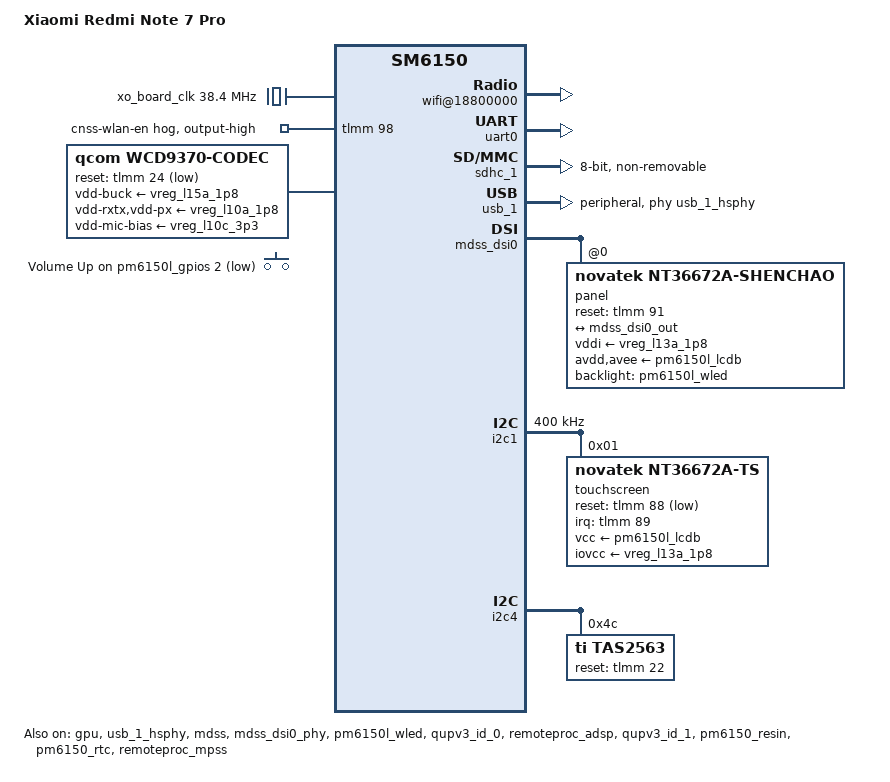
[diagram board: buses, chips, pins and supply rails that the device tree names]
// SPDX-License-Identifier: BSD-3-Clause
/*
 * Xiaomi Redmi Note 7 Pro (violet)
 *
 * SM6150 / Snapdragon 675 — internal MSM codename "Talos", which is the name
 * mainline uses for this SoC (shared with QCS615).  So the SoC description is
 * arch/arm64/boot/dts/qcom/talos.dtsi and this file only has to describe the
 * *board*.
 *
 * Status (mainline 7.2.10, booted via kexec from the downstream kernel):
 *   [x] reserved memory (ramoops console, GPU PIL region)
 *   [x] console on uart0, eMMC, USB peripheral (high-speed only, QUSB2 PHY)
 *   [x] GPU: Adreno 612 renders (RGMU, zap shader), needs
 *       msm.separate_gpu_kms=1 (keeps the GPU a separate DRM device)
 *   [~] PMIC rails: values from the vendor tables, only consumers modelled
 *   [x] display chain: DSI PHY + NT36672A "shenchao" panel + WLED, DSI-1
 *       connected 1080x2340, picture confirmed working (panel repaired 2026-10-25);
 *       WLED must carry qcom,num-strings = <2> or the backlight OVP IRQ storms
 *       at ~1150/s for as long as the panel is lit
 *   [x] touchscreen: novatek @ i2c 0x01 (0x62 is the HW command window)
 *   [x] GPU: Adreno 612 via freedreno (FD612), devfreq 435-845 MHz
 *   [x] eMMC: 8-bit, non-removable, no CQE, HS200
 *   [ ] audio (WCD9375 + AudioReach), camera, sensors, modem
 *   [~] wifi (WCN3990 via ath10k_snoc): nodes added, needs the module +
 *       ath10k firmware; see the notes at the end of this file
 *   [!] known bug: a real graphical session (login) hard-locks the SoC after
 *       ~30-40 s.  Storage, GPU runtime-PM, CPUs 5-7 and the WLED storm have
 *       all been eliminated; the display frame-done IRQ stops being delivered.
 *
 * TZ/xPU quirks that shaped this file: the first four TLMM pins and the QoS
 * registers of aggre1_noc hang the CPU when touched (see the notes at the
 * bottom), and Linux must not enable the TZ SHM bridge on this SoC.
 */

/dts-v1/;

#include <dt-bindings/gpio/gpio.h>
#include <dt-bindings/input/input.h>
#include <dt-bindings/interrupt-controller/irq.h>
#include <dt-bindings/iio/qcom,spmi-vadc.h>
#include <dt-bindings/regulator/qcom,rpmh-regulator.h>
#include <dt-bindings/firmware/qcom,scm.h>
#include <dt-bindings/soc/qcom,apr.h>
#include <dt-bindings/sound/qcom,q6afe.h>
#include <dt-bindings/sound/qcom,q6asm.h>

#include "talos.dtsi"
#include "pm6150.dtsi"
#include "pm6150l.dtsi"

/ {
	model = "Xiaomi Redmi Note 7 Pro";
	compatible = "xiaomi,violet", "qcom,sm6150";
	chassis-type = "handset";

	/*
	 * The bootloader supplies and fills RAM.  Two measured facts:
	 *  - the vendor DTB that boots has a node named exactly "memory" (NO unit
	 *    address) with a zero/placeholder size, and ABL fills it in.
	 *  - mainline's talos.dtsi names it "memory@80000000" and comments
	 *    "We expect the bootloader to fill in the size" -- the u-boot convention.
	 * ABL looks the node up by NAME, so "memory@80000000" is not found and
	 * neither is no node at all: both make it refuse the image.  Measured:
	 *  - zero-size memory@80000000  -> refused
	 *  - no memory node at all      -> refused
	 * So use the vendor's exact name and let ABL fill it.
	 */
	/delete-node/ memory@80000000;

	memory {
		device_type = "memory";
		reg = <0 0x80000000 0 0>;
	};

	aliases {
		serial0 = &uart0;
		mmc0 = &sdhc_1;
	};

	chosen {
		stdout-path = "serial0:115200n8";
	};

	/*
	 * talos.dtsi references both of these; the board has to provide them.
	 * The standard SM6150 pair, exactly as the QCS615 EVK declares them.
	 */
	clocks {
		sleep_clk: sleep-clk {
			compatible = "fixed-clock";
			clock-frequency = <32000>;
			#clock-cells = <0>;
		};

		xo_board_clk: xo-board-clk {
			compatible = "fixed-clock";
			clock-frequency = <38400000>;
			#clock-cells = <0>;
		};
	};
};

/*
 * violet's OWN reserved-memory map.  The QCS615 EVK puts pil_gpu_mem at
 * 0x97715000; violet's is at 0x97115000, so the SoC node has to be overridden
 * (a wrong address here hands the zap/GPU region over to the allocator).
 * The remaining remoteproc regions follow in later iterations.
 */
&{/reserved-memory} {
	/delete-node/ pil-gpu@97715000;

	ramoops: ramoops@a1600000 {
		compatible = "ramoops";
		reg = <0x0 0xa1600000 0x0 0x800000>;
		/*
		 * record-size is what makes a panic produce dmesg-ramoops-N.
		 * Without it only console-ramoops-0 exists, so a hard reset or
		 * a panic leaves no kernel log behind (STATUS.md, "Crash
		 * evidence").  2 MB console + 1 MB pmsg + 1 MB record of the
		 * 8 MB region leaves headroom.
		 */
		record-size = <0x100000>;
		console-size = <0x200000>;
		pmsg-size = <0x100000>;
	};

	pil_gpu_mem: pil-gpu@97115000 {
		reg = <0x0 0x97115000 0x0 0x2000>;
		no-map;
	};
};

/*
 * ---------------------------------------------------------------------------
 * Nodes this device's bootloader patches BY NAME.
 *
 * Qualcomm ABL edits the boot image's DTB on every boot: it fills the memory
 * map, records "removed" memory, writes the Android firmware metadata and the
 * imem fields.  Violet's vendor DTB -- the one ABL actually boots -- carries all
 * of these; mainline's soc DTS does not.  Measured: with the arm64 header fully
 * matched, __symbols__ present and a dtbo that applies cleanly, ABL still
 * refuses our DTB, which is why the missing vendor nodes are the prime suspect.
 *
 * Names, compatible strings and addresses are copied verbatim from violet's own
 * vendor DTB (read back off the device).  Regions that mainline's talos.dtsi
 * already declares under a different name are left alone: an extra reservation
 * costs a little RAM and is harmless, while a missing node ABL expects is fatal.
 * ---------------------------------------------------------------------------
 */
&{/reserved-memory} {
	hyp_region@85700000 {
		compatible = "removed-dma-pool";
		no-map;
		reg = <0x0 0x85700000 0x0 0x600000>;
	};

	xbl_aop_mem@85e00000 {
		compatible = "removed-dma-pool";
		no-map;
		reg = <0x0 0x85e00000 0x0 0x140000>;
	};

	sec_apps_region@85fff000 {
		compatible = "removed-dma-pool";
		no-map;
		reg = <0x0 0x85fff000 0x0 0x1000>;
	};

	/* ABL keeps its "removed memory" record here; 45 MB, the largest gap */
	removed_region@86200000 {
		compatible = "removed-dma-pool";
		no-map;
		reg = <0x0 0x86200000 0x0 0x2d00000>;
	};

	camera_region@8ab00000 {
		compatible = "removed-dma-pool";
		no-map;
		reg = <0x0 0x8ab00000 0x0 0x500000>;
	};

	modem_mem: modem@8b000000 {
		compatible = "removed-dma-pool";
		no-map;
		reg = <0x0 0x8b000000 0x0 0x7e00000>;
	};

	/*
	 * IPA firmware / GSI carve-outs (vendor ipa_fw_region@97100000 and
	 * ipa_gsi_region@97110000).  With "modem-init" the modem loads the GSI
	 * firmware itself and writes here; if the kernel owns this memory the
	 * modem corrupts it and the SoC resets ~16 s after "modem is now up".
	 */
	ipa_fw_mem: ipa-fw@97100000 {
		reg = <0x0 0x97100000 0x0 0x10000>;
		no-map;
	};

	ipa_gsi_mem: ipa-gsi@97110000 {
		reg = <0x0 0x97110000 0x0 0x5000>;
		no-map;
	};

	/*
	 * rmtfs shared memory.  The modem asks the AP for files (its own
	 * firmware tiles, calibration, the WLAN board data) through this
	 * region via the rmtfs daemon.  The vendor allocates it DYNAMICALLY
	 * (qcom,sharedmem-uio reg = <0 size> means "allocate"), so there is no
	 * vendor address; the earlier "rmtfs@0" at physical address 0 was
	 * not DRAM at all.  This one is real RAM just above ramoops, with the
	 * usual guard pages (Fairphone 4 pattern) and the MSS_MSA VMID.
	 */
	rmtfs_mem: rmtfs@a1e00000 {
		compatible = "qcom,rmtfs-mem";
		reg = <0x0 0xa1e00000 0x0 0x280000>;
		no-map;
		qcom,client-id = <1>;
		qcom,vmid = <QCOM_SCM_VMID_MSS_MSA>;
	};

	wlan_msa_mem: wlan_msa_mem@93300000 {
		compatible = "removed-dma-pool";
		no-map;
		/*
		 * 2 MB, exactly the vendor's own carve-out
		 * (dt/ref/violet-sm6150-memory.dtsi: 0x93300000 + 0x200000).
		 *
		 * This used to be 1 MB with a note saying pil-video@93400000
		 * would overlap it - but that is talos' map, not violet's.
		 * Violet puts video at 0x92e00000 and the next region after
		 * the MSA starts at 0x93500000 (cdsp), so the full 2 MB is
		 * free.  A truncated MSA is a wrong memory map handed to the
		 * WLAN firmware.
		 */
		reg = <0x0 0x93300000 0x0 0x200000>;
	};

	/*
	 * The ADSP/CDSP/IPA carve-outs that used to be declared here duplicated
	 * (at different addresses) the ones talos.dtsi already defines -
	 * rproc-cdsp@93b00000, rproc-adsp@95900000 - and the overlaps made the
	 * kernel drop the regions.  rproc_adsp_mem@95900000 is the one
	 * remoteproc_adsp references, so keep upstream's and drop these.
	 */

	qseecom_region@9e400000 {
		compatible = "shared-dma-pool";
		no-map;
		reg = <0x0 0x9e400000 0x0 0x1400000>;
	};

	cdsp_sec_mem@9f800000 {
		compatible = "removed-dma-pool";
		no-map;
		reg = <0x0 0x9f800000 0x0 0x1e00000>;
	};

	cont_splash_region@9c000000 {
		reg = <0x0 0x9c000000 0x0 0xf00000>;
	};

	dfps_data_region@9d000000 {
		reg = <0x0 0x9d000000 0x0 0x100000>;
	};

	disp_rdump_region@9d100000 {
		reg = <0x0 0x9d100000 0x0 0x1000000>;
	};
};

/*
 * imem: mainline declares sram@14680000; violet's is qcom,msm-imem@146aa000 and
 * the vendor DTB exposes the sub-blocks ABL and the Android bootloader use
 * (restart reason, boot stats, KASLR offset, the PIL/dload scratch areas).
 */
&soc {
	qcom_msm_imem: imem@146aa000 {
		compatible = "qcom,msm-imem";
		/* mainline's /soc is 2 address + 2 size cells */
		reg = <0x0 0x146aa000 0x0 0x1000>;
		ranges = <0x0 0x0 0x146aa000 0x1000>;
		#address-cells = <1>;
		#size-cells = <1>;

		imem_mem_dump_table: mem_dump_table@10 {
			compatible = "qcom,msm-imem-mem_dump_table";
			reg = <0x10 0x8>;
		};

		imem_restart_reason: restart_reason@65c {
			compatible = "qcom,msm-imem-restart_reason";
			reg = <0x65c 0x4>;
		};

		imem_dload_type: dload_type@1c {
			compatible = "qcom,msm-imem-dload-type";
			reg = <0x1c 0x4>;
		};

		imem_boot_stats: boot_stats@6b0 {
			compatible = "qcom,msm-imem-boot_stats";
			reg = <0x6b0 0x20>;
		};

		imem_kaslr_offset: kaslr_offset@6d0 {
			compatible = "qcom,msm-imem-kaslr_offset";
			reg = <0x6d0 0xc>;
		};

		imem_pil: pil@94c {
			compatible = "qcom,msm-imem-pil";
			reg = <0x94c 0xc8>;
		};

		imem_diag_dload: diag_dload@c8 {
			compatible = "qcom,msm-imem-diag-dload";
			reg = <0xc8 0xc8>;
		};
	};
};

/*
 * ABL writes the Android firmware metadata into /firmware/android on every boot
 * (the "boot_devices", vbmeta parts and fstab).  Violet's vendor DTB has it;
 * mainline's does not.
 */
&{/firmware} {
	android {
		compatible = "android,firmware";

		boot_devices = "soc/7c4000.sdhci";

		vbmeta {
			compatible = "android,vbmeta";
			parts = "vbmeta,boot,recovery,system,vendor,dtbo";
		};

		fstab {
			compatible = "android,fstab";

			vendor {
				compatible = "android,vendor";
				dev = "/dev/block/platform/soc/1d84000.ufshc/by-name/vendor";
				type = "ext4";
				mnt_flags = "ro,barrier=1,discard";
				fsmgr_flags = "wait,slotselect,avb";
				status = "disabled";
			};
		};
	};
};

/* the debug UART: serial@880000, matching violet's downstream earlycon */
&uart0 {
	status = "okay";
};

/*
 * eMMC.  violet's vendor DT declares no vmmc/vddio for sdhc_1 at all -- the
 * rails are left enabled by the bootloader -- and mainline treats those supplies
 * as optional, so the node does not need them.
 *
 * It does need the two properties the EVK-oriented talos.dtsi leaves to the
 * board, and their absence was not harmless: without bus-width the controller
 * runs 1-bit, and without non-removable mmc treats the eMMC as a removable
 * card, so a command timeout takes the rescan/re-init path instead of retrying.
 * Under write load (a login) that produced
 *   mmc0: Timeout waiting for hardware cmd interrupt
 * followed by an RCU stall, a CPU pinned with IRQs off, and a system-wide hang.
 * The vendor DT has qcom,bus-width = <8> and qcom,nonremovable.
 */
&sdhc_1 {
	status = "okay";
	bus-width = <8>;
	non-removable;

	/*
	 * With 8-bit enabled the controller also advertised and initialised the
	 * Command Queue Engine, and the freeze got *worse*: it arrived ~21 s
	 * after login instead of ~60 s, with no console output at all (the
	 * pstore dump ends at 33 s, so printk had already stopped).  CQE was
	 * never active in the broken 1-bit configuration, so it is the new
	 * variable - drop it for now.
	 */
	/delete-property/ supports-cqe;

	/*
	 * And let the bus run at its proper HS200 clock.  Do NOT cap this with
	 * max-frequency: the mmc core still selects HS200 mode (host capability,
	 * not DT-controlled), so capping the clock to 52 MHz leaves the
	 * controller running HS200 *timing* at a quarter of the frequency it
	 * requires - an out-of-spec combination that produces data errors and
	 * command timeouts.  Observed: deaths right after adding the cap came at
	 * 107 s / 77 s / 155 s, versus 321 s without it.
	 */
};

/*
 * The Adreno 612.  Everything it needs is already in talos.dtsi (gpucc core
 * clock, RPMHPD_CX, adreno_smmu, the mobile OPP table 845..290 MHz), so the
 * board only has to turn it on.  Firmware to have in /lib/firmware:
 *   a612_rgmu.bin, a630_sqe.fw  (mainline names, both installed already)
 *   the signed zap -- the single-file .mbn form mainline requests is the
 *   ROM's a612_zap.elf (already extracted from violet's own vendor image)
 */
/*
 * QCS615/SM6150 GCC GDSCs are backed by the RPMh CX rail.  Without this link a
 * consumer of a GCC-provided GDSC can enable its local domain without the CX
 * vote ever being held, which is why GPUCC's parents (GPLL0 and
 * GCC_GPU_GPLL0_DIV_CLK_SRC) come up dead and gpu_cc_gx_gfx3d_clk_src reports
 * "RCG did not turn on" at 0.234s.  Upstream added this property in commit
 * 5ad7eb6a944e, which is newer than our 7.2.10 base.
 */
&gcc {
	power-domains = <&rpmhpd RPMHPD_CX>;
};

&gpu {
	status = "okay";
};

/*
 * mainline requires the zap firmware name to come from the DT for new targets
 * ("the firmware is signed with a (potentially) device specific key, having the
 * name come from gpulist was a bad idea").  request_firmware_direct() uses this
 * string verbatim -- no qcom/ fallback probing.
 *
 * Install the DEVICE-SIGNED single-file zap at /lib/firmware/qcom/a612_zap.mbn:
 * that is the ROM's a612_zap.elf (14240 B).  Do NOT use the upstream
 * linux-firmware qcs615 blob (14256 B) -- it is signed for a sibling part and
 * TrustZone rejects it, which is measured behaviour on this device.
 */
&gpu_zap_shader {
	firmware-name = "qcom/a612_zap.mdt";
};

/*
 * RPMh regulators live under the applications RSC, not the SPMI bus.
 * `qcom,pmic-id` is the PMIC's SPMI USID as a letter: pm6150 -> "a", pm6150l -> "e".
 * Child node names must be the vreg resource names from
 * qcom-rpmh-regulator.c (RPMH_VREG("ldo1", ...) etc.).
 * Values below are violet's, from the vendor sm6150-regulator.dtsi.
 */
&apps_rsc {
	regulators-0 {
		compatible = "qcom,pm6150-rpmh-regulators";
		qcom,pmic-id = "a";

		vreg_l1a_1p2: ldo1 {
			regulator-min-microvolt = <1200000>;
			regulator-max-microvolt = <1252000>;
			regulator-initial-mode = <RPMH_REGULATOR_MODE_HPM>;
		};

		vreg_l2a_1p0: ldo2 {
			regulator-min-microvolt = <1000000>;
			regulator-max-microvolt = <1050000>;
			regulator-initial-mode = <RPMH_REGULATOR_MODE_HPM>;
		};

		vreg_l3a_1p0: ldo3 {
			regulator-min-microvolt = <1000000>;
			regulator-max-microvolt = <1060000>;
			regulator-initial-mode = <RPMH_REGULATOR_MODE_HPM>;
		};

		vreg_l4a_0p8: ldo4 {
			regulator-min-microvolt = <925000>;	/* DSI PHY: r10 runs it at 925 mV */
			regulator-max-microvolt = <975000>;
			regulator-initial-mode = <RPMH_REGULATOR_MODE_HPM>;
		};

		vreg_l5a_2p5: ldo5 {
			regulator-min-microvolt = <2500000>;
			regulator-max-microvolt = <2970000>;
			regulator-initial-mode = <RPMH_REGULATOR_MODE_HPM>;
		};

		vreg_l6a_0p6: ldo6 {
			regulator-min-microvolt = <600000>;
			regulator-max-microvolt = <650000>;
			regulator-initial-mode = <RPMH_REGULATOR_MODE_HPM>;
		};

		vreg_l9a_0p4: ldo9 {
			regulator-min-microvolt = <400000>;
			regulator-max-microvolt = <728000>;
			regulator-initial-mode = <RPMH_REGULATOR_MODE_HPM>;
		};

		vreg_l10a_1p8: ldo10 {
			regulator-min-microvolt = <1800000>;
			regulator-max-microvolt = <1829000>;
			regulator-initial-mode = <RPMH_REGULATOR_MODE_HPM>;
		};

		vreg_l11a_1p8: ldo11 {
			regulator-min-microvolt = <1800000>;
			regulator-max-microvolt = <1890000>;
			regulator-initial-mode = <RPMH_REGULATOR_MODE_HPM>;
		};

		vreg_l12a_1p8: ldo12 {
			regulator-min-microvolt = <1800000>;
			regulator-max-microvolt = <1950000>;
			regulator-initial-mode = <RPMH_REGULATOR_MODE_HPM>;
		};

		vreg_l13a_1p8: ldo13 {
			regulator-min-microvolt = <1800000>;
			regulator-max-microvolt = <1900000>;
			regulator-initial-mode = <RPMH_REGULATOR_MODE_HPM>;
		};

		vreg_l14a_1p8: ldo14 {
			regulator-min-microvolt = <1800000>;
			regulator-max-microvolt = <1850000>;
			regulator-initial-mode = <RPMH_REGULATOR_MODE_HPM>;
		};

		vreg_l15a_1p8: ldo15 {
			regulator-min-microvolt = <1800000>;
			regulator-max-microvolt = <1900000>;
			regulator-initial-mode = <RPMH_REGULATOR_MODE_HPM>;
		};

		vreg_l16a_2p4: ldo16 {
			regulator-always-on;
			regulator-min-microvolt = <2430000>;
			regulator-max-microvolt = <2970000>;
			regulator-initial-mode = <RPMH_REGULATOR_MODE_HPM>;
		};

		vreg_l17a_3p0: ldo17 {
			regulator-always-on;
			regulator-min-microvolt = <3000000>;
			regulator-max-microvolt = <3230000>;
			regulator-initial-mode = <RPMH_REGULATOR_MODE_HPM>;
		};

		vreg_l18a_3p0: ldo18 {
			regulator-always-on;
			regulator-min-microvolt = <3000000>;
			regulator-max-microvolt = <3008000>;
			regulator-initial-mode = <RPMH_REGULATOR_MODE_HPM>;
		};

		vreg_l19a_2p7: ldo19 {
			regulator-always-on;
			regulator-min-microvolt = <2700000>;
			regulator-max-microvolt = <3008000>;
			regulator-initial-mode = <RPMH_REGULATOR_MODE_HPM>;
		};
	};

	regulators-1 {
		compatible = "qcom,pm6150l-rpmh-regulators";
		qcom,pmic-id = "c";

		vreg_s1e_1p1: smps1 {
			regulator-min-microvolt = <1128000>;
			regulator-max-microvolt = <1128000>;
			regulator-initial-mode = <RPMH_REGULATOR_MODE_HPM>;
		};

		vreg_s2e_0p3: smps2 {
			regulator-min-microvolt = <348000>;
			regulator-max-microvolt = <648000>;
			regulator-initial-mode = <RPMH_REGULATOR_MODE_HPM>;
		};

		vreg_s8e_1p2: smps8 {
			regulator-min-microvolt = <1200000>;
			regulator-max-microvolt = <1400000>;
			regulator-initial-mode = <RPMH_REGULATOR_MODE_HPM>;
		};

		vreg_l1e_1p8: ldo1 {
			regulator-min-microvolt = <1800000>;
			regulator-max-microvolt = <1900000>;
			regulator-initial-mode = <RPMH_REGULATOR_MODE_HPM>;
		};

		vreg_l2e_1p3: ldo2 {
			regulator-min-microvolt = <1304000>;
			regulator-max-microvolt = <1304000>;
			regulator-initial-mode = <RPMH_REGULATOR_MODE_HPM>;
		};

		vreg_l3e_1p2: ldo3 {
			regulator-min-microvolt = <1232000>;
			regulator-max-microvolt = <1260000>;
			regulator-initial-mode = <RPMH_REGULATOR_MODE_HPM>;
		};

		vreg_l4e_1p6: ldo4 {
			regulator-min-microvolt = <1650000>;
			regulator-max-microvolt = <2950000>;
			regulator-initial-mode = <RPMH_REGULATOR_MODE_HPM>;
		};

		vreg_l5e_1p6: ldo5 {
			regulator-min-microvolt = <1650000>;
			regulator-max-microvolt = <2950000>;
			regulator-initial-mode = <RPMH_REGULATOR_MODE_HPM>;
		};

		vreg_l6e_1p6: ldo6 {
			regulator-min-microvolt = <1650000>;
			regulator-max-microvolt = <3100000>;
			regulator-initial-mode = <RPMH_REGULATOR_MODE_HPM>;
		};

		/* violet overrides this one: always-on, HPM */
		vreg_l7e_3p0: ldo7 {
			regulator-min-microvolt = <3000000>;
			regulator-max-microvolt = <3312000>;
			regulator-initial-mode = <RPMH_REGULATOR_MODE_HPM>;
			regulator-always-on;
		};

		vreg_l8e_1p8: ldo8 {
			regulator-min-microvolt = <1800000>;
			regulator-max-microvolt = <1900000>;
			regulator-initial-mode = <RPMH_REGULATOR_MODE_HPM>;
		};

		vreg_l9e_2p9: ldo9 {
			regulator-always-on;
			regulator-min-microvolt = <2950000>;
			regulator-max-microvolt = <3312000>;
			regulator-initial-mode = <RPMH_REGULATOR_MODE_HPM>;
		};

		vreg_l10e_3p2: ldo10 {
			regulator-always-on;
			regulator-min-microvolt = <3200000>;
			regulator-max-microvolt = <3312000>;
			regulator-initial-mode = <RPMH_REGULATOR_MODE_HPM>;
		};

		vreg_l11e_2p9: ldo11 {
			regulator-min-microvolt = <2950000>;
			regulator-max-microvolt = <3312000>;
			regulator-initial-mode = <RPMH_REGULATOR_MODE_HPM>;
		};

		vreg_bob: bob {
			regulator-min-microvolt = <3296000>;
			regulator-max-microvolt = <3960000>;
			regulator-initial-mode = <RPMH_REGULATOR_MODE_HPM>;
		};
	};
};

/*
 * USB (peripheral only).  violet wires the high-speed QUSB2 PHY alone: the vendor
 * tree sets maximum-speed = "high-speed" and disables usb_qmp_phy.  Supplies are the
 * vendor's: vdd = pm6150 L4, vdda18 = L11, vdda33 = L17.
 */
&usb_1_hsphy {
	vdd-supply = <&vreg_l4a_0p8>;
	vdda-pll-supply = <&vreg_l11a_1p8>;
	vdda-phy-dpdm-supply = <&vreg_l17a_3p0>;

	status = "okay";
};

&usb_1 {
	dr_mode = "peripheral";
	maximum-speed = "high-speed";
	phys = <&usb_1_hsphy>;
	phy-names = "usb2-phy";
	qcom,select-utmi-as-pipe-clk;

	status = "okay";
};

/*
 * Probing aggre1_noc hangs the CPU on its first QoS register write (kexec test, run 9-10:
 * PROBE-START 1700000.interconnect never returns).  With no clocks the driver skips QoS
 * programming (qos_requires_clocks), which is what we want: the bootloader/downstream
 * already configured QoS, and Linux writes to these registers are not safe on this firmware.
 */
&aggre1_noc {
	/delete-property/ clocks;
};

/* TZ-protected pins found by tlmm-bisect.sh (reads hang the CPU) */
&tlmm {
	gpio-reserved-ranges = <0 4>;

	/*
	 * CNSS_WLAN_EN is TLMM gpio98 on violet (vendor pinctrl
	 * cnss_wlan_en_active / _sleep: function gpio, drive-strength 16 / 2).
	 * The vendor cnss driver raises this before the WCN3990 boot ROM runs.
	 * Mainline's ath10k snoc has no enable-gpio property, and without the
	 * pin asserted the chip never powers up: every WLAN_CE interrupt count
	 * stays zero, no firmware is requested, and no wlan0 appears - which is
	 * exactly what we measured on 2026-10-25.  Hog it high so the chip is
	 * enabled for the whole boot.
	 */
	wlan_en_hog: wlan-en-hog {
		gpio-hog;
		gpios = <98 GPIO_ACTIVE_HIGH>;
		output-high;
		line-name = "cnss-wlan-en";
	};
};


/*
 * TrustZone PAS (zap shader) authentication needs a DDR bandwidth vote on behalf of the
 * crypto engine: the downstream pil-tz does scm_pas_enable_bw() before PAS_INIT_IMAGE, and
 * without it TZ returns 0xffcfffbb (-3145797) -> -EINVAL.  Mainline models that vote as the
 * scm node's interconnect path.
 */
&{/firmware/scm} {
	interconnects = <&aggre1_noc MASTER_CRYPTO QCOM_ICC_TAG_ALWAYS
			 &mc_virt SLAVE_EBI1 QCOM_ICC_TAG_ALWAYS>;
};

/*
 * Display: DPU -> DSI0 (4 lanes, video mode) -> Novatek NT36672A "shenchao" panel.
 *
 * The panel's AVDD/AVEE come from the PM6150L LCDB (one module enable; the voltages
 * stay as programmed by the bootloader).  Backlight is the PM6150L WLED.
 */
&mdss {
	status = "okay";
};

&mdss_dsi0 {
	/* DSI controller analog rail is PM6150L L3 (vendor "vdda-1p2", 1.232 V); L4A is the PHY's */
	vdda-supply = <&vreg_l3e_1p2>;

	status = "okay";

	panel@0 {
		compatible = "novatek,nt36672a-shenchao";
		reg = <0>;

		vddi-supply = <&vreg_l13a_1p8>;
		avdd-supply = <&pm6150l_lcdb>;
		avee-supply = <&pm6150l_lcdb>;

		reset-gpios = <&tlmm 91 GPIO_ACTIVE_HIGH>;
		backlight = <&pm6150l_wled>;

		port {
			panel_in: endpoint {
				remote-endpoint = <&mdss_dsi0_out>;
			};
		};
	};
};

&mdss_dsi0_out {
	remote-endpoint = <&panel_in>;
	data-lanes = <1 2 3 0>;
};

&mdss_dsi0_phy {
	vcca-supply = <&vreg_l4a_0p8>;

	status = "okay";
};

&pm6150l_wled {
	qcom,current-limit-microamp = <25000>;
	qcom,cabc;

	/*
	 * Mainline's WLED5 defaults are num_strings = 4 with enabled_strings
	 * {0,1,2,3}.  violet's panel does not populate four strings, and driving
	 * an enabled-but-open string makes the boost converter trip OVP in a
	 * retry loop: measured 1150 wled_ovp_irq/s the whole time the panel is
	 * lit (onset exactly at dpms On), ~2300 SPMI transactions/s on the bus
	 * that carries every other PMIC interrupt.  Vendor DT leaves the string
	 * count at the downstream default rather than asking for four.
	 */
	qcom,num-strings = <2>;

	status = "okay";
};

&pm6150l_lsid5 {
	/* LCD bias: the panel's AVDD/AVEE.  r10 switches it off before kexec. */
	pm6150l_lcdb: regulator@ec00 {
		compatible = "qcom,pm6150l-lcdb";
		reg = <0xec00>;
		regulator-name = "lcdb";
	};
};

/*
 * Touchscreen: Novatek NT36672A TDDI controller on QUP SE1 = i2c1 @ 0x884000.
 * Values taken from the vendor DT node /soc/i2c@884000/novatek@62 on a working
 * downstream boot: compatible "novatek,NVT-ts", reg 0x62, irq gpio 89,
 * reset gpio 88.  The vendor node carries no supply properties (the rails are
 * always-on in the vendor regulator setup), while mainline's novatek-nvt-ts
 * requires both "vcc" and "iovcc" by name, hence the two fixed always-on
 * regulators below.  Replace them with the real PMIC LDOs once identified;
 * as written they only tell the driver "you are powered" and vote nothing.
 */

/* QUP wrappers are "disabled" in talos.dtsi; without these the i2c1 child below
 * is never instantiated and no i2c adapter appears at all (the SoC file leaves the
 * GENI wrapper off so boards opt in).  gpi_dma0 is the DMA engine i2c1's dmas point at.
 */
&gpi_dma0 {
	status = "okay";
};

&qupv3_id_0 {
	status = "okay";
};

&i2c1 {
	status = "okay";
	clock-frequency = <400000>;

	touchscreen@1 {
		/* ADDRESS 0x01, not 0x62. Oracle: the vendor driver's own header
		 * (nvt_touch_f7b/nt36xxx.h) defines I2C_FW_Address 0x01 (the register map,
		 * used for every data read/write including chip id) and I2C_HW_Address 0x62
		 * (only the 2-byte hardware commands: 0x69 bootloader reset, 0xA5 idle).
		 * Mainline reads its 0x78 parameter block at 0x62 and gets a clean NACK.
		 * The vendor DT's reg=<0x62> is decorative: that driver hardcodes the address
		 * per transfer and never looks at client->addr.
		 */
		/* A/B v2: supply rails are now forced always-on, so this isolates
		 * the remaining difference from the working vendor kernel, which
		 * leaves pin 88 MUX+GPIO UNCLAIMED (oracle: vendor pinctrl
		 * debugfs) - mainline drives it as an output instead.
		 */
		compatible = "novatek,nt36672a-ts";
		reg = <0x01>;
		interrupt-parent = <&tlmm>;
		interrupts = <89 IRQ_TYPE_EDGE_FALLING>;
		/* ACTIVE_LOW on purpose: the controller is running with the RESET line HIGH
	 * (vendor nt36xxx.c does gpio_set_value(reset_gpio, 1) on power-on), while
	 * novatek-nvt-ts treats logical 0 as "out of reset" in nvt_ts_start().
	 * ACTIVE_LOW therefore maps logical 0 -> physical HIGH, which is what the
	 * hardware wants.  ACTIVE_HIGH leaves the chip held in reset.
	 */
		reset-gpios = <&tlmm 88 GPIO_ACTIVE_LOW>;
		/* Rails taken from the r10-vs-mainline regulator diff, not guessed:
		 * on the working vendor kernel pm6150l_l11 (2.95V) is enabled and it is
		 * the only 2.9-3.1V rail that mainline leaves off (use=0), while
		 * pm6150_l13 (1.8V) is what the vendor's commented-out
		 * "vcc_i2c-supply" pointed at - i.e. the touch IO rail.
		 */
		/* Blueprint: mainline's working NT36672A port (sdm845-xiaomi-beryllium-tianma.dts)
		 * feeds touch VCC from the PANEL BIAS rail ("lab" there), not from a generic PMIC
		 * LDO.  On violet the panel bias is pm6150l LCDB (the panel's own avdd/avee), so the
		 * controller has been on the wrong rail all along.  iovcc stays on the 1.8V DSI rail
		 * (beryllium: vreg_l14a_1p8 = the same role).
		 */
		vcc-supply = <&pm6150l_lcdb>;
		iovcc-supply = <&vreg_l13a_1p8>;
		pinctrl-names = "default";
		pinctrl-0 = <&touch_reset_default &touch_irq_default>;
	};
};

/* Touch reset/irq pins: the vendor tree leaves these to the default mux, but on mainline
 * the reset line must be an explicit output driven low, otherwise the chip can be left
 * held in reset and never ACKs on i2c (probe fails -110 at 0x78).
 */
&tlmm {
	touch_reset_default: touch-reset-default-state {
		/* high-Z on purpose: the working kernel has this pin MUX+GPIO
		 * UNCLAIMED and the hardware pull decides the level.  No output
		 * property and no bias == the same electrical state.
		 */
		pins = "gpio88";
		function = "gpio";
		bias-disable;
	};

	touch_irq_default: touch-irq-default-state {
		pins = "gpio89";
		function = "gpio";
		bias-pull-up;
	};
};

/*
 * WCN3990 WiFi (ath10k_snoc)
 * --------------------------
 * mainline does not use a child WCSS remoteproc on this SoC generation: the MSA
 * is carved out of a fixed reserved region and secured by the boot firmware, and
 * ath10k brings the WCSS up itself (qcom,msa-fixed-perm), exactly like sc7180.
 * Address, iommu SID, CE interrupt numbers and MSA size all come from the vendor
 * icnss@18800000 node in base-sm6150.dtsi:
 *   iommus = <&apps_smmu 0x1640 0x1>
 *   interrupts = GIC SPI 414..425 (CE0..CE11) - note the GIC on this SoC takes
 *                FOUR cells per interrupt (type, number, trigger, flags); with
 *                three the parser mis-splits and only one IRQ registers, which
 *                shows up as "-ENXIO: IRQ index 1 not found"
 *   qcom,wlan-msa-memory = <0x100000>, qcom,wlan-msa-fixed-region = &wlan_msa_mem
 *   the MSA region itself is the existing wlan_msa_mem@93300000 above (1 MB)
 * The vendor also listed four supplies (pm6150_l9 = cx-mx, pm6150l_l1 = 1.8 xo,
 * pm6150l_l2 = 1.3 rfa, pm6150l_l10 = 3.3 ch0); mainline's pm6150* dtsi files do
 * not model those LDOs, so they are left to the voltages the bootloader leaves on
 * until a regulator node exists for them.
 *
 * Required userspace bits (the kernel has ATH10K_SNOC as a module and there is
 * currently no /lib/modules tree for this kernel on the device):
 *   /lib/firmware/ath10k/WCN3990/hw1.0/firmware-5.bin
 *   /lib/firmware/ath10k/WCN3990/hw1.0/board-2.bin
 */
&soc {
	wifi@18800000 {
		compatible = "qcom,wcn3990-wifi";
		reg = <0x0 0x18800000 0x0 0x800000>;
		reg-names = "membase";

		iommus = <&apps_smmu 0x1640 0x1>;

		/*
		 * The WCN3990 is a discrete chip on SNOC: these four rails must be
		 * actually enabled or the chip's boot ROM never runs and everything
		 * on the QMI side simply never happens (silently - ath10k registers
		 * its QMI client and waits forever).  Mapping and voltages are the
		 * vendor's: pm6150_l9 = cx-mx, pm6150l_l1 = 1.8 XO,
		 * pm6150l_l2 = 1.3 RFA, pm6150l_l10 = 3.3 CH0.
		 * There is no vdd-3.3-ch1 on this board.
		 */
		vdd-0.8-cx-mx-supply = <&vreg_l9a_0p6>;
		vdd-1.8-xo-supply = <&vreg_l1c_1p8>;
		vdd-1.3-rfa-supply = <&vreg_l2c_1p3>;
		vdd-3.3-ch0-supply = <&vreg_l10c_3p3>;

		interrupts = <GIC_SPI 414 IRQ_TYPE_LEVEL_HIGH 0>,
			     <GIC_SPI 415 IRQ_TYPE_LEVEL_HIGH 0>,
			     <GIC_SPI 416 IRQ_TYPE_LEVEL_HIGH 0>,
			     <GIC_SPI 417 IRQ_TYPE_LEVEL_HIGH 0>,
			     <GIC_SPI 418 IRQ_TYPE_LEVEL_HIGH 0>,
			     <GIC_SPI 419 IRQ_TYPE_LEVEL_HIGH 0>,
			     <GIC_SPI 420 IRQ_TYPE_LEVEL_HIGH 0>,
			     <GIC_SPI 421 IRQ_TYPE_LEVEL_HIGH 0>,
			     <GIC_SPI 422 IRQ_TYPE_LEVEL_HIGH 0>,
			     <GIC_SPI 423 IRQ_TYPE_LEVEL_HIGH 0>,
			     <GIC_SPI 424 IRQ_TYPE_LEVEL_HIGH 0>,
			     <GIC_SPI 425 IRQ_TYPE_LEVEL_HIGH 0>;

		memory-region = <&wlan_msa_mem>;
		/* no qcom,msa-fixed-perm: let ath10k assign the MSA to MSS_MSA like icnss does */
		/* violet's own bdwlan.bin, packed into board-2.bin under this variant name */
		qcom,calibration-variant = "xiaomi_violet";

		status = "okay";
	};
};

/*
 * RPMh regulators for the WLAN chip
 * ---------------------------------
 * mainline ships "qcom,pm6150-rpmh-regulators" and "qcom,pm6150l-rpmh-regulators"
 * (drivers/regulator/qcom-rpmh-regulator.c) but no platform had described the
 * PM6150/PM6150L rails, so ath10k's regulator_bulk_get() fell back to dummy
 * regulators and the rails were never enabled.  Only the four rails the WCN3990
 * needs are described here, with the vendor's own limits (base-sm6150-regulator.dtsi):
 *   pm6150  ldo9 : cx-mx   400000-728000 (vendor init 400 mV, icnss raises it to 640 mV)
 *   pm6150l ldo1 : 1.8 XO  1800000-1900000
 *   pm6150l ldo2 : 1.3 RFA 1304000-1304000
 *   pm6150l ldo10: 3.3 CH0 3200000-3312000
 * The cx-mx minimum is raised to 640 mV because mainline's ath10k does not read
 * the vendor's "qcom,vdd-0.8-cx-mx-config" property, so nothing else would ever
 * ask for that voltage.
 */
&apps_rsc {
	regulators-0 {
		compatible = "qcom,pm6150-rpmh-regulators";
		qcom,pmic-id = "a";

		/* WCD9375: cdc-vdd-ldo-rxtx + cdc-vddpx-1 (vendor L10A) */
		vreg_l10a_1p8: ldo10 {
			regulator-min-microvolt = <1800000>;
			regulator-max-microvolt = <1900000>;
			regulator-initial-mode = <RPMH_REGULATOR_MODE_LPM>;
		};

		/* WCD9375: cdc-vdd-buck (vendor L15A) */
		vreg_l15a_1p8: ldo15 {
			regulator-min-microvolt = <1800000>;
			regulator-max-microvolt = <1900000>;
			regulator-initial-mode = <RPMH_REGULATOR_MODE_LPM>;
		};

		vreg_l9a_0p6: ldo9 {
			/* the WCN3990's boot ROM must run before ath10k powers it */
			regulator-always-on;
			regulator-min-microvolt = <640000>;
			regulator-max-microvolt = <728000>;
			regulator-initial-mode = <RPMH_REGULATOR_MODE_LPM>;
		};
	};

	regulators-1 {
		compatible = "qcom,pm6150l-rpmh-regulators";
		qcom,pmic-id = "c";

		vreg_l1c_1p8: ldo1 {
			/* the WCN3990's boot ROM must run before ath10k powers it */
			regulator-always-on;
			regulator-min-microvolt = <1800000>;
			regulator-max-microvolt = <1900000>;
			regulator-initial-mode = <RPMH_REGULATOR_MODE_LPM>;
		};

		vreg_l2c_1p3: ldo2 {
			/* the WCN3990's boot ROM must run before ath10k powers it */
			regulator-always-on;
			regulator-min-microvolt = <1304000>;
			regulator-max-microvolt = <1304000>;
			regulator-initial-mode = <RPMH_REGULATOR_MODE_LPM>;
		};

		vreg_l10c_3p3: ldo10 {
			/* the WCN3990's boot ROM must run before ath10k powers it */
			regulator-always-on;
			regulator-min-microvolt = <3200000>;
			regulator-max-microvolt = <3312000>;
			regulator-initial-mode = <RPMH_REGULATOR_MODE_LPM>;
		};
	};
};

/*
 * ADSP (the audio/Sensor DSP)
 * --------------------------
 * talos.dtsi describes the node but leaves it disabled.  There is no
 * "qcs615-adsp-pas" in qcom_q6v5_pas.c, so it binds via the second compatible,
 * "qcom,sm8150-adsp-pas" -> sm8150_adsp_resource, whose firmware name is
 * "adsp.mdt" - i.e. the SPLIT images (adsp.mdt + adsp.bNN) rather than a
 * squashed .mbn.  The stock modem partition ships exactly that set, so copy
 * adsp.mdt/adsp.b* to /lib/firmware/qcom/qcs615/ on the device.
 */
/*
 * ADSP memory window
 * ------------------
 * The stock adsp image is RELOCATABLE (its segments carry the
 * QCOM_MDT_RELOCATABLE flag), so the kernel has to tell TZ the window to load
 * it into via qcom_scm_pas_mem_setup().  With talos.dtsi's address
 * (0x95900000) that call came back -22, i.e. TZ refused the range; TZ only
 * accepts the ADSP window the device was provisioned with, which is the
 * vendor's: 0x95300000 + 0x1e00000 (ends at 0x97100000, immediately below the
 * GPU zap shader at 0x97115000).
 *
 * CDSP is therefore pulled down to 0x93b00000 + 0x1800000 (24 MB - its stock
 * firmware is 2.6 MB and we are not bringing CDSP up), so the two carve-outs
 * stay adjacent and non-overlapping, exactly like the vendor map
 * (cdsp 0x93500000-0x95300000, adsp 0x95300000-0x97100000).
 */
&rproc_cdsp_mem {
	reg = <0x0 0x93b00000 0x0 0x1800000>;
};

&rproc_adsp_mem {
	reg = <0x0 0x95300000 0x0 0x1e00000>;
};

&remoteproc_adsp {
	firmware-name = "qcom/qcs615/adsp.mdt";
	status = "okay";
};

/* ============================================================================
 * AUDIO
 * ----------------------------------------------------------------------------
 * The stock ADSP firmware on this device speaks the LEGACY APR protocol: once
 * remoteproc_adsp is up the glink edge offers "apr_audio_svc" (and apr_apps2),
 * not AudioReach's "adsp_apps".  So this uses the q6core/q6afe/q6asm/q6adm
 * stack, NOT q6apm, even though talos.dtsi (written for QCS615 boards with
 * newer firmware) wires the AudioReach nodes.
 *
 * Hardware map taken from the vendor sm6150-audio-overlay.dtsi:
 *   tx_macro@62ec0000 -> swr2 @ 0x62ed0000, irq SPI 137 (wake 623), rx slave 0x01170223
 *   rx_macro@62ee0000 -> swr1 @ 0x62ef0000, irq SPI 138,            rx slave 0x01170224
 *   wsa_macro@62f00000 -> swr0: disabled on violet (no WSA speaker amp)
 *   wcd9375 reset = TLMM gpio 24 (vendor msm_cdc_pinctrl@24)
 * ==========================================================================*/

&glink_edge {
	apr {
		compatible = "qcom,apr-v2";
		qcom,glink-channels = "apr_audio_svc";
		qcom,domain = <APR_DOMAIN_ADSP>;
		#address-cells = <1>;
		#size-cells = <0>;

		service@3 {
			compatible = "qcom,q6core";
			reg = <APR_SVC_ADSP_CORE>;
		};

		q6afe: service@4 {
			compatible = "qcom,q6afe";
			reg = <APR_SVC_AFE>;
			/*
			 * Upstream (and every in-tree SoC) declares
			 *   qcom,protection-domain = "avs/audio", "msm/adsp/audio_pd";
			 * here.  Adding it on violet makes q6afe defer forever: the PD
			 * is never registered because there is no QRTR/servreg (see
			 * docs/PROGRESS.md 14:40 and 15:40).  Without the property the
			 * card and its PCMs come up; the AFE commands time out anyway.
			 * Restore the property the moment PDR resolves.
			 */

			q6afedai: dais {
				compatible = "qcom,q6afe-dais";
				#address-cells = <1>;
				#size-cells = <0>;
				#sound-dai-cells = <1>;
			};

			q6afecc: clock-controller {
				compatible = "qcom,q6afe-clocks";
				#clock-cells = <2>;
			};
		};

		q6asm: service@7 {
			compatible = "qcom,q6asm";
			reg = <APR_SVC_ASM>;
			/* qcom,protection-domain: see q6afe note — PDR unavailable. */

			q6asmdai: dais {
				compatible = "qcom,q6asm-dais";
				#address-cells = <1>;
				#size-cells = <0>;
				#sound-dai-cells = <1>;
				/* vendor: &msm_audio_ion { iommus = <&apps_smmu 0x1721 0x0>; qcom,smmu-sid-mask = 0xf } */
				iommus = <&apps_smmu 0x1721 0x0>;

				/*
				 * q6asm-dai builds its DAIs from DT children:
				 * reg = the front-end DAI id, direction selects
				 * which stream the DAI advertises.
				 */
				dai@0 {
					reg = <MSM_FRONTEND_DAI_MULTIMEDIA1>;
					direction = <Q6ASM_DAI_TX>;
				};

				dai@1 {
					reg = <MSM_FRONTEND_DAI_MULTIMEDIA2>;
					direction = <Q6ASM_DAI_TX>;
				};

				dai@2 {
					reg = <MSM_FRONTEND_DAI_MULTIMEDIA3>;
					direction = <Q6ASM_DAI_RX>;
				};
			};
		};

		q6adm: service@8 {
			compatible = "qcom,q6adm";
			reg = <APR_SVC_ADM>;

			q6routing: routing {
				compatible = "qcom,q6adm-routing";
				#sound-dai-cells = <0>;
			};
		};
	};
};

&soc {
	/*
	 * VA macro @0x62f20000 (vendor va-macro).  Its only job here is to
	 * provide the "fsgen" clock: lpass-rx-macro/tx-macro call
	 * devm_clk_get(dev, "fsgen") unconditionally and fail with -ENOENT
	 * without it.
	 */
	vamacro: vamacro@62f20000 {
		compatible = "qcom,sm8250-lpass-va-macro";
		reg = <0x0 0x62f20000 0x0 0x2000>;

		/*
		 * audio test `nomacrovote`: the LPASS_HW_MACRO_VOTE clock is
		 * gone from here too.  It was the last remaining consumer of
		 * the ADSP clock-vote command at boot - va_macro probes first
		 * and the vote times out (-110), which aborted va_macro, which
		 * in turn kept txmacro/rxmacro/soundwire deferred forever.
		 * "macro" and "dcodec" are optional in lpass-va-macro.c
		 * (devm_clk_get_optional), so this costs us nothing on a device
		 * whose WCD9375 path is parked anyway.  The question this test
		 * answers: with no vote issued at boot, does the AFE answer
		 * AFE_PARAM_ID_CLOCK_SET, or is it deaf regardless?
		 */
		clocks = <&q6afecc LPASS_CLK_ID_TX_CORE_MCLK LPASS_CLK_ATTRIBUTE_COUPLE_NO>;
		clock-names = "mclk";

		#clock-cells = <0>;
		clock-output-names = "fsgen";
		#sound-dai-cells = <1>;
	};

	txmacro: txmacro@62ec0000 {
		compatible = "qcom,sm8250-lpass-tx-macro";
		reg = <0x0 0x62ec0000 0x0 0x1000>;

		clocks = <&q6afecc LPASS_CLK_ID_TX_CORE_MCLK LPASS_CLK_ATTRIBUTE_COUPLE_NO>,
			 <&q6afecc LPASS_CLK_ID_TX_CORE_NPL_MCLK LPASS_CLK_ATTRIBUTE_COUPLE_NO>,
			 <&vamacro>;
		/*
		 * The stock sm6150 ADSP firmware rejects the LPASS clock-VOTE
		 * command mainline's q6afe-clocks sends for the "macro" and
		 * "dcodec" clocks (cmd 0x100f4 -> "Unknown cmd", "AFE failed
		 * to vote"), which aborted macro probe with -110.  Both are
		 * optional in the driver, so they are deliberately left out.
		 */
		clock-names = "mclk", "npl", "fsgen";

		#sound-dai-cells = <1>;
		#clock-cells = <0>;
		clock-output-names = "lpass-tx-mclk";
	};

	swr2: soundwire@62ed0000 {
		compatible = "qcom,soundwire-v1.3.0";
		reg = <0x0 0x62ed0000 0x0 0x2000>;
		interrupts = <GIC_SPI 137 IRQ_TYPE_LEVEL_HIGH 0>;
		clocks = <&txmacro>;
		clock-names = "iface";
		label = "TX";

		#address-cells = <2>;
		#size-cells = <0>;
		#sound-dai-cells = <1>;

		qcom,din-ports = <6>;
		qcom,dout-ports = <1>;
		/*
		 * Port timing from Android's tx_frame_params_wcd937x - the WCD937x
		 * TX table differs from the WCD938x one (si 3 instead of 31).
		 */
		qcom,ports-sinterval-low =	/bits/ 8 <0xff 0x03 0x03 0x03 0x03 0xff 0xff>;
		qcom,ports-offset1 =	/bits/ 8 <0xff 0x01 0x02 0x01 0x00 0xff 0xff>;
		qcom,ports-offset2 =	/bits/ 8 <0xff 0x00 0x00 0x00 0x00 0xff 0xff>;
		qcom,ports-lane-control =	/bits/ 8 <0xff 0x00 0x00 0x00 0x00 0xff 0xff>;
		qcom,ports-word-length =	/bits/ 8 <0xff 0xff 0xff 0xff 0xff 0xff 0xff>;
		qcom,ports-block-pack-mode =	/bits/ 8 <0xff 0xff 0xff 0xff 0xff 0xff 0xff>;
		qcom,ports-hstart =	/bits/ 8 <0xff 0xff 0xff 0xff 0xff 0xff 0xff>;
		qcom,ports-hstop =	/bits/ 8 <0xff 0xff 0xff 0xff 0xff 0xff 0xff>;
		qcom,ports-block-group-count =	/bits/ 8 <0xff 0xff 0xff 0xff 0xff 0xff 0xff>;

		wcd937x_tx: codec@0,3 {
			compatible = "sdw20217010a00";
			reg = <0 3>;
			#sound-dai-cells = <0>;
			qcom,tx-port-mapping = <1 1 2 3>;
			/* slave ports: adc1, adc2, adc3, mic0, dmic1, mbhc,
			 * dmic2, dmic3, dmic4, dmic5, dmic6, dmic7
			 */
			qcom,tx-channel-mapping = /bits/ 8 <1 2 1 1 2 3 3 4 1 2 3 4>;
		};
	};

	rxmacro: rxmacro@62ee0000 {
		compatible = "qcom,sm8250-lpass-rx-macro";
		reg = <0x0 0x62ee0000 0x0 0x1000>;

		clocks = <&q6afecc LPASS_CLK_ID_RX_CORE_MCLK LPASS_CLK_ATTRIBUTE_COUPLE_NO>,
			 <&q6afecc LPASS_CLK_ID_RX_CORE_NPL_MCLK LPASS_CLK_ATTRIBUTE_COUPLE_NO>,
			 <&vamacro>;
		/*
		 * The stock sm6150 ADSP firmware rejects the LPASS clock-VOTE
		 * command mainline's q6afe-clocks sends for the "macro" and
		 * "dcodec" clocks (cmd 0x100f4 -> "Unknown cmd", "AFE failed
		 * to vote"), which aborted macro probe with -110.  Both are
		 * optional in the driver, so they are deliberately left out.
		 */
		clock-names = "mclk", "npl", "fsgen";

		#sound-dai-cells = <1>;
		#clock-cells = <0>;
		clock-output-names = "lpass-rx-mclk";
	};

	swr1: soundwire@62ef0000 {
		compatible = "qcom,soundwire-v1.3.0";
		reg = <0x0 0x62ef0000 0x0 0x2000>;
		interrupts = <GIC_SPI 138 IRQ_TYPE_LEVEL_HIGH 0>;
		clocks = <&rxmacro>;
		clock-names = "iface";
		label = "RX";

		#address-cells = <2>;
		#size-cells = <0>;
		#sound-dai-cells = <1>;

		qcom,din-ports = <1>;
		qcom,dout-ports = <6>;
		/*
		 * Port timing from the Android kona tables (kona-port-config.h
		 * rx_frame_params_default) that the FP4 mainline bring-up used.
		 * nports = din + dout = 7 on this master, so each array needs 7
		 * entries - the driver indexes one byte per port and the two
		 * unconfigured ports made the bus clash (MASTER_CLASH_DET).
		 */
		qcom,ports-sinterval-low =	/bits/ 8 <0x03 0x1f 0x1f 0x07 0x00 0xff 0xff>;
		qcom,ports-offset1 =	/bits/ 8 <0x00 0x00 0x0b 0x01 0x00 0xff 0xff>;
		qcom,ports-offset2 =	/bits/ 8 <0x00 0x00 0x0b 0x00 0x00 0xff 0xff>;
		qcom,ports-hstart =	/bits/ 8 <0xff 0x03 0xff 0xff 0xff 0xff 0xff>;
		qcom,ports-hstop =	/bits/ 8 <0xff 0x06 0xff 0xff 0xff 0xff 0xff>;
		qcom,ports-word-length =	/bits/ 8 <0x01 0x07 0x04 0xff 0xff 0xff 0xff>;
		qcom,ports-block-pack-mode =	/bits/ 8 <0xff 0x00 0x01 0xff 0xff 0xff 0xff>;
		qcom,ports-lane-control =	/bits/ 8 <0x01 0x00 0x00 0x00 0x00 0xff 0xff>;
		qcom,ports-block-group-count =	/bits/ 8 <0xff 0xff 0xff 0xff 0x00 0xff 0xff>;

		wcd937x_rx: codec@0,4 {
			compatible = "sdw20217010a00";
			reg = <0 4>;
			#sound-dai-cells = <0>;
			qcom,rx-port-mapping = <1 2 3 4 5>;
			/* slave ports: hph_l, hph_r, clsh, comp_l, comp_r,
			 * lo, dsd_r, dsd_l
			 */
			qcom,rx-channel-mapping = /bits/ 8 <1 2 1 1 2 1 1 2>;
		};
	};
};

&{/} {
	wcd9370: audio-codec {
		compatible = "qcom,wcd9370-codec";
		reset-gpios = <&tlmm 24 GPIO_ACTIVE_LOW>;

		vdd-buck-supply = <&vreg_l15a_1p8>;
		vdd-rxtx-supply = <&vreg_l10a_1p8>;
		vdd-px-supply = <&vreg_l10a_1p8>;
		vdd-mic-bias-supply = <&vreg_l10c_3p3>;

		qcom,micbias1-microvolt = <1800000>;
		qcom,micbias2-microvolt = <1800000>;
		qcom,micbias3-microvolt = <1800000>;
		qcom,micbias4-microvolt = <1800000>;

		qcom,rx-device = <&wcd937x_rx>;
		qcom,tx-device = <&wcd937x_tx>;

		#sound-dai-cells = <1>;
	};
};

&soc {
	sound {
		compatible = "qcom,sm8250-sndcard";
		model = "Xiaomi Redmi Note 7 Pro";

		/*
		 * The MI2S pins were never muxed: talos.dtsi defines mi2s1_pins
		 * (gpio108-111, function mi2s_1, drive 8, bias-disable) and
		 * talos-evk puts it on the sound node, but we did not.  Driving
		 * audio out of pins still in GPIO mode is one of the candidate
		 * causes of the PMIC hard reset on stream start (audio test
		 * audio1).  mi2s_mclk is deliberately NOT added: a TAS2563
		 * clocks from BCLK, and gpio122/mclk2 may not be usable here.
		 */
		pinctrl-names = "default";
		pinctrl-0 = <&mi2s1_pins>;

		#address-cells = <1>;
		#size-cells = <0>;

		mm1-dai-link {
			link-name = "MultiMedia1";
			cpu {
				sound-dai = <&q6asmdai MSM_FRONTEND_DAI_MULTIMEDIA1>;
			};
		};

		mm2-dai-link {
			link-name = "MultiMedia2";
			cpu {
				sound-dai = <&q6asmdai MSM_FRONTEND_DAI_MULTIMEDIA2>;
			};
		};

		/*
		 * MultiMedia3 is the only front-end whose Playback widget this
		 * q6asm-dai instance actually registers (the debug trace shows
		 * "adding MultiMedia1/2 Capture widget" but "MultiMedia3
		 * Playback widget"), so give it a link and see if it yields a
		 * playback PCM we can push a tone into.
		 */
		mm3-dai-link {
			link-name = "MultiMedia3";
			cpu {
				sound-dai = <&q6asmdai MSM_FRONTEND_DAI_MULTIMEDIA3>;
			};
		};

		/*
		 * The WCD9375 path is parked: its SoundWire slaves go UNATTACHED
		 * (see PLAN.md) and a codec that fails to probe takes the whole
		 * card down with it.  Keep this link list working so we can make
		 * noise through the speaker amp, which is plain I2S off the
		 * LPASS primary MI2S and needs none of that machinery.
		 */
		spk-playback-dai-link {
			link-name = "Speaker Playback";
			cpu {
				sound-dai = <&q6afedai PRIMARY_MI2S_RX>;
			};
			platform {
				sound-dai = <&q6routing>;
			};
			codec {
				sound-dai = <&tas2563>;
			};
		};

		/*
		 * Diagnostic-only BE: starts a real AFE MI2S port (SECONDARY) with
		 * no codec at all, so ASoC uses the dummy DAI.  Routing MultiMedia3
		 * here tells us whether an AFE port start alone can reset the PMIC,
		 * with the TAS2563 nowhere in the path.
		 */
		dbg-playback-dai-link {
			link-name = "Debug Playback";
			cpu {
				sound-dai = <&q6afedai QUATERNARY_MI2S_RX>;
			};
			platform {
				sound-dai = <&q6routing>;
			};
			/*
			 * qcom_snd_parse_of() treats a link without a codec as a
			 * front end, so this BE never existed.  A dummy S/PDIF
			 * transmitter makes it a real codec-less BE.
			 */
			codec {
				sound-dai = <&dummy_codec>;
			};
		};

	};
};

/*
 * Speaker amplifier (TI TAS2563) on QUPv3 SE4 / i2c3, address 0x4c.
 *
 * The vendor node calls pin 22 "reset-gpio"; mainline's tas2562 driver takes an
 * optional "shutdown" gpio and drives it with GPIOD_OUT_HIGH, i.e. out of
 * shutdown, which is the state we want.  TAS2563 is register compatible with
 * TAS2562, which is the compatible the mainline driver matches on.
 *
 * It is fed from the LPASS primary MI2S, so it needs no SoundWire and no
 * WCD9375 - that is why it is the first path we try to make audible.
 */
/*
 * Speaker amplifier (TI TAS2563), address 0x4c on QUPv3 *wrapper 1* / SE0
 * (i2c@a80000).  The vendor calls this "SE4" and muxes it to gpio20/gpio21
 * (function "qup10" downstream = "qup1" here); mainline's i2c4 node already
 * defaults to exactly those pins, which is why the amp never answered when it
 * was parked on i2c3 (wrapper 0) - that bus produced a clean NAK, and forcing
 * the wrapper-1 pins onto the wrapper-0 controller produced a timeout.
 *
 * The vendor calls pin 22 "reset-gpio"; mainline's tas2562 driver takes an
 * optional "shutdown" gpio and drives it GPIOD_OUT_HIGH (out of shutdown).
 * TAS2563 is register compatible with TAS2562, which is what the driver matches.
 */
/*
 * i2c4 lives in QUPv3 wrapper 1, which (and its GPI DMA) talos.dtsi leaves
 * disabled.  Without these two the bus never probes and the card just sits in
 * "codec dai not found" forever.
 */
/ {
	/* Diagnostic dummy codec for the Debug Playback BE (AFE-only tests). */
	dummy_codec: audio-codec-dummy {
		compatible = "linux,spdif-dit";
		#sound-dai-cells = <0>;
	};
};

&qupv3_id_1 {
	status = "okay";
};

&gpi_dma1 {
	status = "okay";
};

&i2c4 {
	status = "okay";

	tas2563: speaker-amp@4c {
		/*
		 * The TAS2563 is NOT register compatible with the TAS2562 that the
		 * ti,tas2562 binding drives: different boost, different PLL, and a
		 * DSP.  Driving it with the TAS2562 sequence corrupts its power-up
		 * and trips the PMIC into a hard reset (PON: "Triggered from Hard
		 * Reset") the instant a stream starts.  Mainline has a proper
		 * driver for it: sound/soc/codecs/tas2781-i2c.c.
		 */
		compatible = "ti,tas2563";
		reg = <0x4c>;
		#sound-dai-cells = <0>;
		/* driver calls devm_gpiod_get_optional(dev, "reset", GPIOD_OUT_HIGH) */
		reset-gpios = <&tlmm 22 GPIO_ACTIVE_HIGH>;
		/*
		 * TEST audio1: keep this node ENABLED.  Disabling it makes the
		 * card fail to register ("codec dai not found") because the
		 * speaker DAI link still points at it, and then there is no PCM
		 * to test with at all.  With no tas2563RCA1.bin present the
		 * driver never powers the amp (startup returns -EINVAL), so it
		 * stays inert unless something opens its DAI - which is exactly
		 * what we want: stream only to the codec-less "Debug Playback"
		 * BE (SECONDARY_MI2S_RX) and the amp is out of the picture.
		 */
		status = "okay";
	};
};

/*
 * The AFE needs to know which serial-data line each MI2S port uses; without
 * qcom,sd-lines the port config carries a zero mask and the DSP refuses to
 * start it:
 *   qcom-q6afe aprsvc:service:4:4: no line is assigned
 *   q6afe-dai: fail to prepare AFE port 10
 *   ASoC error (-22): at snd_soc_dai_prepare() on PRI_MI2S
 * aplay still "succeeds" because the failure is at prepare, not open - which is
 * exactly why the card looked healthy while producing no sound.
 */
&q6afedai {
	dai@16 {
		reg = <PRIMARY_MI2S_RX>;
		qcom,sd-lines = <0>;
	};

	dai@18 {
		reg = <SECONDARY_MI2S_RX>;
		qcom,sd-lines = <0>;
	};

	dai@22 {
		reg = <QUATERNARY_MI2S_RX>;
		qcom,sd-lines = <0>;
	};
};


/* ============================================================================
 * MODEM (MSS)
 * ----------------------------------------------------------------------------
 * WiFi is not independent of the modem on this design: ath10k_snoc only
 * registers a wiphy after the WLFW QMI service answers (qmi_add_lookup in
 * ath10k_qmi_init), and that service comes from the modem subsystem over
 * QRTR.  Without mpss there is no wlan0, whatever the WLAN rails do.
 *
 * The firmware is the device's own, taken from the "modem" partition
 * (/image/modem.mdt + modem.b00..b27 -> /lib/firmware/qcom/qcs615/).  There
 * is no mba.mbn: this is TZ-PAS (pas-id 4), authenticated by TrustZone.
 *
 * The memory carve-out is the modem@8b000000 region already declared above.
 * mpss_resource_init has auto_boot = false, so nothing starts until we ask.
 * ==========================================================================*/
&soc {
	smp2p-mpss {
		compatible = "qcom,smp2p";
		qcom,smem = <435>, <428>;
		interrupts = <GIC_SPI 451 IRQ_TYPE_EDGE_RISING 0>;
		mboxes = <&apss_shared 14>;
		qcom,local-pid = <0>;
		qcom,remote-pid = <1>;

		mpss_smp2p_out: master-kernel {
			qcom,entry-name = "master-kernel";
			#qcom,smem-state-cells = <1>;
		};

		mpss_smp2p_in: slave-kernel {
			qcom,entry-name = "slave-kernel";
			interrupt-controller;
			#interrupt-cells = <2>;
		};

		/*
		 * The vendor's modem smp2p block also carries an entry named
		 * "wlan" (smp2p_wlan_1_in) that icnss uses for
		 * qcom,smp2p-force-fatal-error / early-crash-ind.  It is the
		 * channel the modem uses to talk about the WLAN subsystem, so
		 * without it the modem may never bring its WLFW service up.
		 */
		mpss_smp2p_wlan_in: wlan {
			qcom,entry-name = "wlan";
			interrupt-controller;
			#interrupt-cells = <2>;
		};

		/*
		 * IPA <-> modem handshake (vendor qcom,smp2p-ipa-1-out/in).  The
		 * modem asks "ipa-clock-query" and waits for the AP's answer and
		 * for the AP's IPA to come up; without it its init can stall and
		 * assert (fatal error at a fixed 40 s).  The sm7150 mainline
		 * port, which runs its modem + WiFi, describes the same pair.
		 */
		mpss_smp2p_ipa_out: ipa-ap-to-modem {
			qcom,entry-name = "ipa";
			#qcom,smem-state-cells = <1>;
		};

		mpss_smp2p_ipa_in: ipa-modem-to-ap {
			qcom,entry-name = "ipa";
			interrupt-controller;
			#interrupt-cells = <2>;
		};
	};

	/*
	 * IPA v4.2 (hw-ver 0x10 = IPA_HW_v4_2, same as sc7180).  No ipa_fws on
	 * the phone, so the modem loads the GSI firmware ("modem-init").
	 */
	ipa: ipa@1e40000 {
		compatible = "qcom,sc7180-ipa";
		reg = <0x0 0x01e40000 0x0 0x7000>,
		      <0x0 0x01e47000 0x0 0x2000>,
		      <0x0 0x01e04000 0x0 0x2c000>;
		reg-names = "ipa-reg", "ipa-shared", "gsi";

		iommus = <&apps_smmu 0x1520 0x0>,
			 <&apps_smmu 0x1522 0x0>;

		interrupts-extended = <&intc GIC_SPI 311 IRQ_TYPE_EDGE_RISING 0>,
				      <&intc GIC_SPI 432 IRQ_TYPE_LEVEL_HIGH 0>,
				      <&mpss_smp2p_ipa_in 0 IRQ_TYPE_EDGE_RISING>,
				      <&mpss_smp2p_ipa_in 1 IRQ_TYPE_EDGE_RISING>;
		interrupt-names = "ipa", "gsi", "ipa-clock-query", "ipa-setup-ready";

		clocks = <&rpmhcc RPMH_IPA_CLK>;
		clock-names = "core";

		interconnects = <&aggre1_noc MASTER_IPA QCOM_ICC_TAG_ALWAYS
				 &mc_virt SLAVE_EBI1 QCOM_ICC_TAG_ALWAYS>,
				<&aggre1_noc MASTER_IPA QCOM_ICC_TAG_ALWAYS
				 &system_noc SLAVE_IMEM QCOM_ICC_TAG_ALWAYS>,
				<&gem_noc MASTER_APPSS_PROC QCOM_ICC_TAG_ALWAYS
				 &config_noc SLAVE_IPA_CFG QCOM_ICC_TAG_ALWAYS>;
		interconnect-names = "memory", "imem", "config";

		qcom,qmp = <&aoss_qmp>;

		qcom,smem-states = <&mpss_smp2p_ipa_out 0>,
				   <&mpss_smp2p_ipa_out 1>;
		qcom,smem-state-names = "ipa-clock-enabled-valid",
					"ipa-clock-enabled";

		modem-init;
	};

	remoteproc_mpss: remoteproc@4080000 {
		compatible = "qcom,sm8150-mpss-pas";
		reg = <0x0 0x04080000 0x0 0x4040>;

		interrupts-extended = <&intc GIC_SPI 266 IRQ_TYPE_EDGE_RISING 0>,
				      <&mpss_smp2p_in 0 IRQ_TYPE_EDGE_RISING>,
				      <&mpss_smp2p_in 1 IRQ_TYPE_EDGE_RISING>,
				      <&mpss_smp2p_in 2 IRQ_TYPE_EDGE_RISING>,
				      <&mpss_smp2p_in 3 IRQ_TYPE_EDGE_RISING>,
				      <&mpss_smp2p_in 7 IRQ_TYPE_EDGE_RISING>;
		interrupt-names = "wdog",
				  "fatal",
				  "ready",
				  "handover",
				  "stop-ack",
				  "shutdown-ack";

		clocks = <&rpmhcc RPMH_CXO_CLK>;
		clock-names = "xo";

		power-domains = <&rpmhpd RPMHPD_CX>, <&rpmhpd RPMHPD_MSS>;
		power-domain-names = "cx", "mss";

		memory-region = <&modem_mem>;

		qcom,qmp = <&aoss_qmp>;

		qcom,smem-states = <&mpss_smp2p_out 0>;
		qcom,smem-state-names = "stop";

		firmware-name = "qcom/qcs615/modem.mdt";

		status = "okay";

		/*
		 * The modem's glink edge.  Without it the modem's IPCRTR channel
		 * never appears, so QRTR has no modem node, and ath10k's WLFW
		 * lookup (qmi_add_lookup in ath10k_qmi_init) never resolves -
		 * which is why there was no wiphy even with the modem running.
		 * mbox/IRQ are the vendor's (apcs_glb 12 / GIC_SPI 449).
		 */
		glink-edge {
			interrupts-extended = <&intc GIC_SPI 449 IRQ_TYPE_EDGE_RISING 0>;
			mboxes = <&apss_shared 12>;
			label = "mpss";
			qcom,remote-pid = <1>;
		};
	};
};

/*
 * Battery sense.  Upstream's pm6150.dtsi only declares the die_temp channel
 * of the PMIC ADC, so VBAT_SNS is never exposed and userspace has no way to
 * read pack voltage - which is why Phosh shows the battery as unknown/critical.
 * The SPMI ADC5 driver has supported this channel all along (ADC5_VBAT_SNS =
 * 0x84); it just needs to be described.
 */
/*
 * talos declares a video carve-out at 0x93400000..0x93900000 that violet does
 * not have: violet puts video at 0x92e00000 and its next carve-out after the
 * WLAN MSA starts at 0x93500000.  Leaving talos' node in place covers the top
 * half of violet's 2 MB MSA, so the kernel drops the MSA region and hands the
 * WLAN firmware a truncated map.
 */
&{/reserved-memory} {
	/delete-node/ pil-video@93400000;

	/*
	 * talos' pil_video_mem label is referenced by video-codec@aa00000,
	 * so it has to keep existing - it just has to point at violet's own
	 * video carve-out (0x92e00000) instead of talos' 0x93400000, which
	 * sits on top of the WLAN MSA's upper half.
	 */
	pil_video_mem: video@92e00000 {
		compatible = "removed-dma-pool";
		no-map;
		reg = <0x0 0x92e00000 0x0 0x500000>;
	};
};

&pm6150_adc {
	channel@84 {
		reg = <ADC5_VBAT_SNS>;
		label = "vbat_sns";
	};
};

/* ADSP fastrpc remote heap (audiopd) must be hyp-assigned to the DSP: vendor qcom,adsp-remoteheap-vmid = <22 37> */
&glink_edge {
	fastrpc {
		qcom,vmids = <QCOM_SCM_VMID_LPASS QCOM_SCM_VMID_ADSP_HEAP>;
	};
};

/*
 * Volume keys.  Volume down is the PMIC RESIN input; volume up is pm6150l GPIO2
 * (active low, pulled up), exactly as the vendor DTBO wires them.
 */
&pm6150_resin {
	linux,code = <KEY_VOLUMEDOWN>;
	status = "okay";
};

&pm6150l_gpios {
	key_vol_up_default: key-vol-up-default-state {
		pins = "gpio2";
		function = "normal";
		input-enable;
		bias-pull-up;
		power-source = <0>;
	};
};

&{/} {
	gpio-keys {
		compatible = "gpio-keys";
		pinctrl-names = "default";
		pinctrl-0 = <&key_vol_up_default>;

		key-volume-up {
			label = "Volume Up";
			gpios = <&pm6150l_gpios 2 GPIO_ACTIVE_LOW>;
			linux,code = <KEY_VOLUMEUP>;
			debounce-interval = <15>;
			wakeup-source;
		};
	};
};

/*
 * Battery estimate: no QG/SMB5 driver upstream, so violet-vbat turns VBAT_SNS
 * into a capacity with the vendor OCV table and reads the SMB5 charge state.
 */
&pm6150_lsid0 {
	battery {
		compatible = "xiaomi,violet-vbat";
		io-channels = <&pm6150_adc ADC5_VBAT_SNS>;
		io-channel-names = "vbat";
	};
};


/*
 * Memory hole the vendor kernel does not see as RAM: 0x93500000..0x93afffff (6 MiB), between
 * wlan_msa_mem (ends 0x934fffff) and rproc-cdsp (0x93b00000).  r10's /proc/iomem has no
 * System RAM there (compared 2026-10-27), but without a reservation mainline hands these
 * pages to the allocator; the first program that touches one gets an instant, silent SoC
 * reset (XPU/TZ protection).  This is the "hang under memory load" that took Firefox,
 * video, apk installs and memcpy stress down.
 */
&{/reserved-memory} {
	violet_hole_mem: violet-hole@93500000 {
		reg = <0x0 0x93500000 0x0 0x600000>;
		no-map;
	};
};

/*
 * Top of the high DRAM bank.  A page-by-page physical-address walk (2026-10-27) died right
 * when the allocator reached 0x173000000 with the SoC resetting silently; everything below
 * that (0x138000000..0x172ff8000) was fine.  Every "crash under memory load" (Firefox, video,
 * apk, memcpy stress) was the allocator handing out these protected pages.  Reserve the whole
 * 173 MiB tail until the real boundary of the protected area is known.
 */
&{/reserved-memory} {
	violet_tail_mem: violet-tail@173000000 {
		reg = <0x1 0x73000000 0x0 0x0ad00000>;
		no-map;
	};
};

/*
 * PMIC real-time clock.  Disabled in pm6150.dtsi, so violet booted with the time at
 * 1970-01-01 until chrony got an NTP reply (and had no clock at all when offline).
 * The RTC counter itself is read-only for Linux here (writes are refused, tested), so
 * the clock is kept as "counter + offset" and the offset lives in an SDAM cell, the same
 * way sc8280xp-crd does it.  b600 is the battery-gauge SDAM: the vendor QG driver uses
 * offsets 0x45..0xb3 (+0xbc), so 0xb4..0xb7 is free (the SDAM driver only exposes offsets up to 0xbf).
 */
&pm6150_lsid0 {
	pm6150_sdam_6: nvram@b600 {
		compatible = "qcom,spmi-sdam";
		reg = <0xb600>;
		#address-cells = <1>;
		#size-cells = <1>;
		ranges = <0 0xb600 0x100>;

		rtc_offset: rtc-offset@b4 {
			reg = <0xb4 0x4>;
		};
	};
};

&pm6150_rtc {
	nvmem-cells = <&rtc_offset>;
	nvmem-cell-names = "offset";
	status = "okay";
};
